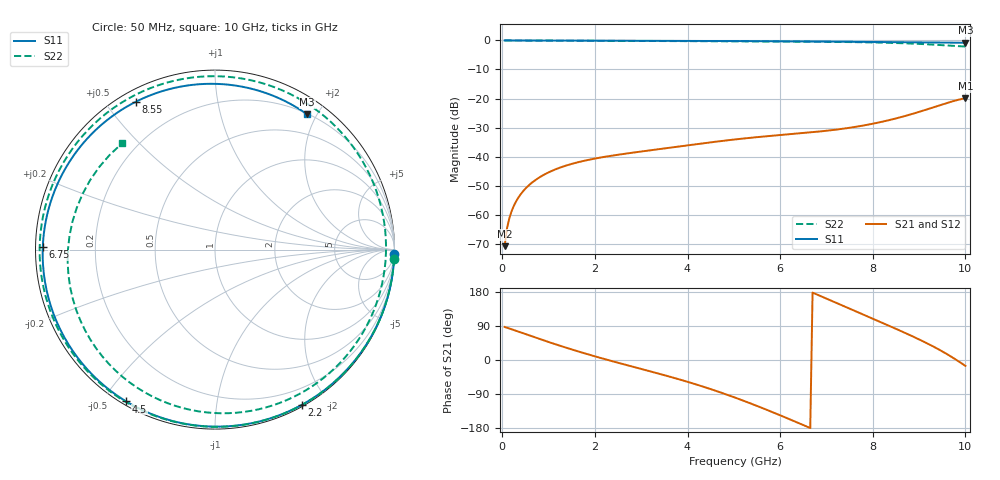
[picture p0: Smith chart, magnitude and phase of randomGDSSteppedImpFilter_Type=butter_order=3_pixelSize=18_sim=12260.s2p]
! freq	dB(S11)	phase(S11)	dB(S12)	phase(S12)
!  dB(S21)	phase(S21)	dB(S22)	phase(S22)
!S-par simulation data
#  GHz  S  DB  R 50
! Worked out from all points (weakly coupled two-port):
!   200 points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, 50 MHz to 10 GHz, reference 50 ohm
!   highest |S21| = -19.88 dB at 10 GHz (marker M1); lowest = -70.8 dB at 50 MHz (marker M2)
!   lowest |S11| = -0.8 dB at 10 GHz (marker M3), VSWR 21.68, Z = 10.5 + j93.7 ohm
!   |S11| at or under -10 dB: nowhere
!   |S22| runs from -2.1 to 0.0 dB; largest |S21 - S12| = 0
!   S11 on the Smith chart (normalised r, x): 50 MHz: 1, -79; 2.2 GHz: 0.02, -1.70; 4.5 GHz: 0.01, -0.57; 6.75 GHz: 0.02, +0.01; 8.55 GHz: 0.05, +0.60; 10 GHz: 0.21, +1.87
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0.05  -0.00 -1.4  -70.85 87.2  -70.85 87.2  -0.00 -3.0
0.1  -0.01 -2.9  -64.85 85.3  -64.85 85.3  -0.01 -5.9
0.2  -0.01 -5.7  -58.86 81.1  -58.86 81.1  -0.02 -11.7
0.5  -0.02 -14.2  -51.03 68.3  -51.03 68.3  -0.03 -29.2
1.15  -0.04 -32.3  -44.38 41.4  -44.38 41.4  -0.08 -66.1
1.75  -0.06 -48.8  -41.50 18.6  -41.50 18.6  -0.12 -99.0
2.2  -0.08 -60.9  -40.11 2.7  -40.11 2.7  -0.15 -122.9
2.8  -0.10 -76.7  -38.68 -17.1  -38.68 -17.1  -0.18 -154.3
3.4  -0.12 -92.3  -37.40 -36.7  -37.40 -36.7  -0.21 174.2
3.9  -0.14 -105.1  -36.34 -53.9  -36.34 -53.9  -0.23 147.6
4.5  -0.18 -120.3  -35.09 -76.8  -35.09 -76.8  -0.27 114.7
5.05  -0.21 -134.4  -34.04 -100.3  -34.04 -100.3  -0.31 83.9
5.95  -0.28 -158.2  -32.65 -143.4  -32.65 -143.4  -0.37 33.6
6.7  -0.35 -179.3  -31.60 177.9  -31.60 177.9  -0.43 -6.5
6.75  -0.36 179.2  -31.52 175.2  -31.52 175.2  -0.44 -9.1
7.6  -0.46 152.6  -29.83 130.2  -29.83 130.2  -0.58 -52.1
8.35  -0.56 125.9  -27.45 90.4  -27.45 90.4  -0.82 -90.5
8.55  -0.59 118.2  -26.65 79.6  -26.65 79.6  -0.91 -101.5
9  -0.66 100.0  -24.60 54.3  -24.60 54.3  -1.18 -129.5
9.45  -0.72 80.6  -22.30 26.2  -22.30 26.2  -1.58 -165.4
9.75  -0.77 67.1  -20.84 4.5  -20.84 4.5  -1.89 163.2
10  -0.80 55.7  -19.88 -15.6  -19.88 -15.6  -2.09 131.2
